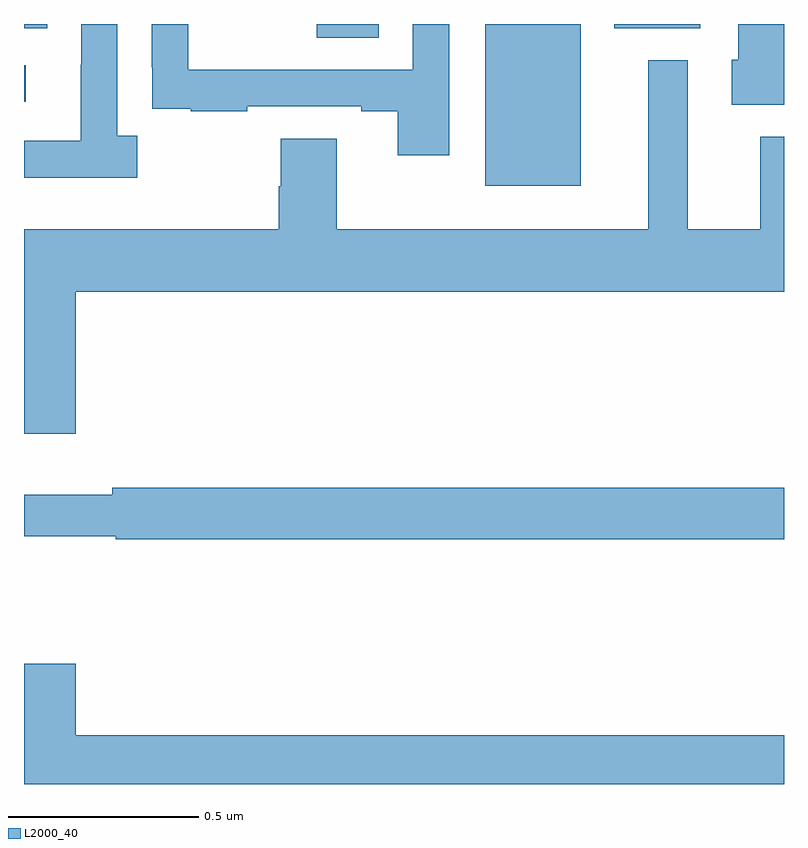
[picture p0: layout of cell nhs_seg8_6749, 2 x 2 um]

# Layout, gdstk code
import gdstk
lib = gdstk.Library(unit=1e-6, precision=1e-09)
def R(c, l, rs):  # rectangles x0, y0, x1, y1
    for r in rs: c.add(gdstk.rectangle(r[:2], r[2:], *l))
def P(c, l, *ps):  # polygons
    for p in ps: c.add(gdstk.Polygon(p, *l))
L2000_40 = (2000, 40)

nhs_seg8_6749 = lib.new_cell('nhs_seg8_6749')
R(nhs_seg8_6749, L2000_40, [(202.214,1087.475,202.465,1087.9), (201,1087.695,201.004,1087.791), (201.77,1087.864,201.934,1087.9), (201,1087.889,201.061,1087.9), (202.553,1087.889,202.78,1087.9), (201.521,1087.899,201.682,1087.9)])
P(nhs_seg8_6749, L2000_40, [(202.119,1087.9),(202.023,1087.9),(202.023,1087.779),(201.432,1087.779),(201.432,1087.9),(201.336,1087.9),(201.336,1087.786),(201.337,1087.786),(201.337,1087.677),(201.439,1087.677),(201.439,1087.671),(201.587,1087.671),(201.587,1087.683),(201.887,1087.683),(201.887,1087.671),(201.983,1087.671),(201.983,1087.554),(202.119,1087.554)],
  [(203,1087.9),(202.88,1087.9),(202.88,1087.806),(202.862,1087.806),(202.862,1087.688),(203,1087.688)],
  [(201.298,1087.606),(201.246,1087.606),(201.246,1087.9),(201.15,1087.9),(201.15,1087.793),(201.149,1087.793),(201.149,1087.593),(201,1087.593),(201,1087.496),(201.298,1087.496)],
  [(201.136,1087.196),(203,1087.196),(203,1087.603),(202.937,1087.603),(202.937,1087.36),(202.747,1087.36),(202.747,1087.804),(202.643,1087.804),(202.643,1087.36),(201.823,1087.36),(201.823,1087.598),(201.676,1087.598),(201.676,1087.473),(201.671,1087.473),(201.671,1087.36),(201,1087.36),(201,1086.822),(201.136,1086.822)],
  [(203,1086.68),(201.232,1086.68),(201.232,1086.661),(201,1086.661),(201,1086.552),(201.242,1086.552),(201.242,1086.544),(203,1086.544)],
  [(203,1086.028),(201.136,1086.028),(201.136,1086.217),(201,1086.217),(201,1085.9),(203,1085.9)])

lib.write_gds('nhs_seg8_6749.gds')
